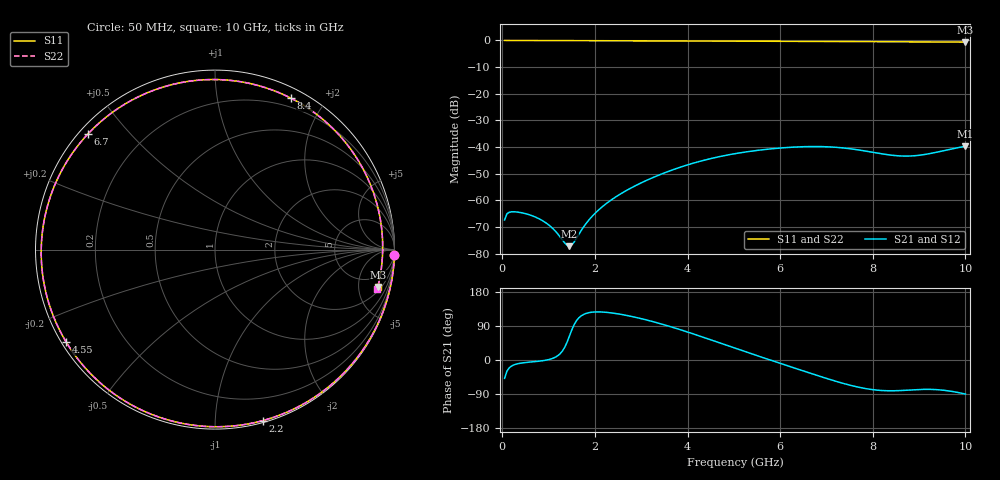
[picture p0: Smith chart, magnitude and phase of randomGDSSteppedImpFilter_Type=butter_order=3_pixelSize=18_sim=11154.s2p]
! freq	dB(S11)	phase(S11)	dB(S12)	phase(S12)
!  dB(S21)	phase(S21)	dB(S22)	phase(S22)
!S-par simulation data
#  GHz  S  DB  R 50
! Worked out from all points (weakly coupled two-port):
!   200 points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, 50 MHz to 10 GHz, reference 50 ohm
!   highest |S21| = -39.69 dB at 10 GHz (marker M1); lowest = -77.2 dB at 1.45 GHz (marker M2)
!   lowest |S11| = -0.6 dB at 10 GHz (marker M3), VSWR 28.01, Z = 129 - j402 ohm
!   |S11| at or under -10 dB: nowhere
!   |S22| runs from -0.6 to 0.0 dB; largest |S21 - S12| = 0
!   S11 on the Smith chart (normalised r, x): 50 MHz: 0, -66; 2.2 GHz: 0.01, -1.32; 4.55 GHz: 0.01, -0.29; 6.7 GHz: 0.03, +0.39; 8.4 GHz: 0.10, +1.62; 10 GHz: 2.58, -8.04
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0.05  -0.00 -1.7  -67.33 -48.3  -67.33 -48.3  -0.00 -1.7
0.1  -0.00 -3.5  -65.02 -29.4  -65.02 -29.4  -0.00 -3.5
0.2  -0.00 -7.0  -64.29 -15.9  -64.29 -15.9  -0.00 -7.0
0.7  -0.03 -24.3  -66.13 -4.3  -66.13 -4.3  -0.03 -24.3
1.05  -0.04 -36.2  -69.90 2.7  -69.90 2.7  -0.04 -36.2
1.45  -0.06 -49.7  -77.17 63.2  -77.17 63.2  -0.06 -49.7
1.75  -0.08 -59.6  -70.10 119.8  -70.10 119.8  -0.08 -59.6
2.2  -0.09 -74.3  -61.80 126.3  -61.80 126.3  -0.09 -74.3
2.8  -0.12 -93.5  -55.15 114.7  -55.15 114.7  -0.12 -93.5
3.4  -0.15 -112.3  -50.37 96.3  -50.37 96.3  -0.15 -112.3
4.55  -0.21 -148.1  -44.11 51.2  -44.11 51.2  -0.21 -148.2
5.05  -0.24 -164.1  -42.39 30.2  -42.39 30.2  -0.24 -164.2
5.9  -0.31 167.2  -40.50 -4.7  -40.50 -4.7  -0.31 167.1
6.7  -0.38 137.6  -39.79 -36.8  -39.79 -36.8  -0.38 137.4
7.6  -0.45 100.1  -40.83 -69.2  -40.83 -69.2  -0.45 99.9
8  -0.48 82.0  -41.95 -78.3  -41.95 -78.3  -0.48 81.7
8.35  -0.50 65.6  -42.92 -81.2  -42.92 -81.2  -0.50 65.3
8.4  -0.50 63.3  -43.03 -81.3  -43.03 -81.3  -0.50 62.9
8.85  -0.53 41.7  -43.31 -78.8  -43.31 -78.8  -0.53 41.2
9.25  -0.55 22.4  -42.38 -77.5  -42.38 -77.5  -0.55 21.9
9.6  -0.58 5.7  -41.10 -80.9  -41.10 -80.9  -0.58 5.2
10  -0.62 -12.9  -39.69 -89.9  -39.69 -89.9  -0.62 -13.5
